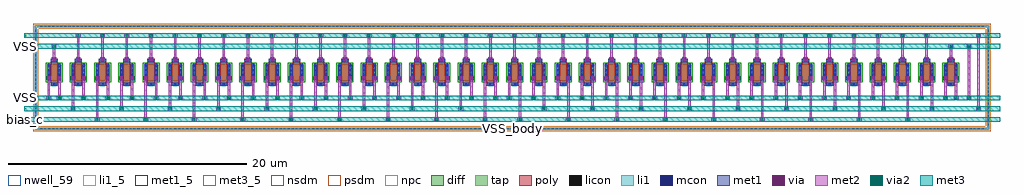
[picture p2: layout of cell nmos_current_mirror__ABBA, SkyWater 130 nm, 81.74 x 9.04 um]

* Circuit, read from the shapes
.subckt nmos_current_mirror__ABBA VSS VSS_body bias_c i_bias
XM1 VSS VSS VSS VSS_body sky130_fd_pr__nfet_01v8 w=1.4 l=0.6 m=2
XM2 VSS i_bias i_bias VSS_body sky130_fd_pr__nfet_01v8 w=1.4 l=0.6 m=18
XM3 VSS i_bias bias_c VSS_body sky130_fd_pr__nfet_01v8 w=1.4 l=0.6 m=18
.ends

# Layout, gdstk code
from math import pi, radians
import gdstk
lib = gdstk.Library(unit=1e-6, precision=1e-09)
def R(c, l, rs):  # rectangles x0, y0, x1, y1
    for r in rs: c.add(gdstk.rectangle(r[:2], r[2:], *l))
def A(c, l, x, y, w, h, nx, ny, dx, dy):  # array of equal rectangles
    R(c, l, [(x+i*dx, y+j*dy, x+i*dx+w, y+j*dy+h) for i in range(nx) for j in range(ny)])
nwell_59 = (64, 59)
diff = (65, 20)
tap = (65, 44)
poly = (66, 20)
licon = (66, 44)
li1_5 = (67, 5)
li1 = (67, 20)
mcon = (67, 44)
met1_5 = (68, 5)
met1 = (68, 20)
via = (68, 44)
met2 = (69, 20)
via2 = (69, 44)
met3_5 = (70, 5)
met3 = (70, 20)
nsdm = (93, 44)
psdm = (94, 20)
npc = (95, 20)

sky130_fd_pr__nfet_01v8_ = lib.new_cell('sky130_fd_pr__nfet_01v8_KCM6UP')
R(sky130_fd_pr__nfet_01v8_, diff, [(-0.59,-0.7,0.59,0.7)])
R(sky130_fd_pr__nfet_01v8_, poly, [(-0.3,-1.14,0.3,1.14)])
A(sky130_fd_pr__nfet_01v8_, licon, -0.53, -0.595, 0.17, 0.17, 1, 4, 0, 0.34)
A(sky130_fd_pr__nfet_01v8_, licon, 0.36, -0.595, 0.17, 0.17, 1, 4, 0, 0.34)
R(sky130_fd_pr__nfet_01v8_, licon, [(-0.085,-1.06,0.085,-0.89), (-0.085,0.89,0.085,1.06)])
R(sky130_fd_pr__nfet_01v8_, li1, [(-0.3,-1.06,0.3,-0.89), (-0.53,-0.72,-0.36,0.72), (0.36,-0.72,0.53,0.72), (-0.3,0.89,0.3,1.06)])
A(sky130_fd_pr__nfet_01v8_, mcon, -0.53, -0.625, 0.17, 0.17, 1, 4, 0, 0.36)
A(sky130_fd_pr__nfet_01v8_, mcon, 0.36, -0.625, 0.17, 0.17, 1, 4, 0, 0.36)
R(sky130_fd_pr__nfet_01v8_, mcon, [(-0.085,-1.06,0.085,-0.89), (-0.085,0.89,0.085,1.06)])
R(sky130_fd_pr__nfet_01v8_, met1, [(-0.28,-1.09,0.28,-0.86), (-0.56,-0.7,-0.33,0.7), (0.33,-0.7,0.56,0.7), (-0.28,0.86,0.28,1.09)])
R(sky130_fd_pr__nfet_01v8_, nsdm, [(-0.715,-0.825,0.715,0.825)])
R(sky130_fd_pr__nfet_01v8_, npc, [(-0.185,-1.16,0.185,-0.79), (-0.185,0.79,0.185,1.16)])
sky130_fd_pr__nfet_01v8_.add(gdstk.Label('D', (-0.445,0), layer=67, texttype=5))
sky130_fd_pr__nfet_01v8_.add(gdstk.Label('S', (0.445,0), layer=67, texttype=5))
sky130_fd_pr__nfet_01v8_.add(gdstk.Label('G', (0,0.975), layer=67, texttype=5))

nfet_01v8_w1p4_l0p6_m18_ = lib.new_cell('nfet_01v8_W1p4_L0p6_m18__nf1_gboth_sdfull_ng')
R(nfet_01v8_w1p4_l0p6_m18_, nwell_59, [(0.05,1.09,0.15,1.19)])
R(nfet_01v8_w1p4_l0p6_m18_, met1_5, [(0.03,1.14,0.26,1.34), (0.92,1.14,1.15,1.34), (0.31,2,0.87,2.23)])
R(nfet_01v8_w1p4_l0p6_m18_, met1, [(0.03,1.14,0.26,1.34), (0.92,1.14,1.15,1.34), (0.31,2,0.87,2.23)])
nfet_01v8_w1p4_l0p6_m18_.add(gdstk.Reference(sky130_fd_pr__nfet_01v8_, (0.59,1.14)))
nfet_01v8_w1p4_l0p6_m18_.add(gdstk.Label('D', (0.145,1.24), layer=68, texttype=5))
nfet_01v8_w1p4_l0p6_m18_.add(gdstk.Label('S', (1.035,1.24), layer=68, texttype=5))
nfet_01v8_w1p4_l0p6_m18_.add(gdstk.Label('G', (0.59,2.115), layer=68, texttype=5))
nfet_01v8_w1p4_l0p6_m18_.add(gdstk.Label('B', (0.1,1.14), layer=64, texttype=59))

nmos_current_mirror__abb = lib.new_cell('nmos_current_mirror__ABBA')
R(nmos_current_mirror__abb, tap, [(-0.885,-3.685,79.025,-3.515), (-0.885,-3.515,-0.715,4.935), (78.855,-3.515,79.025,4.935), (-0.885,4.935,79.025,5.105)])
A(nmos_current_mirror__abb, licon, -0.455, -3.685, 0.17, 0.17, 233, 2, 0.34, 8.62)
A(nmos_current_mirror__abb, licon, -0.885, -3.285, 0.17, 0.17, 1, 24, 0, 0.34)
A(nmos_current_mirror__abb, licon, 78.855, -3.285, 0.17, 0.17, 1, 24, 0, 0.34)
R(nmos_current_mirror__abb, li1_5, [(39.02,-3.65,39.12,-3.55)])
R(nmos_current_mirror__abb, li1, [(-0.885,-3.685,79.025,-3.515), (-0.885,-3.515,-0.715,4.935), (78.855,-3.515,79.025,4.935), (-0.885,4.935,79.025,5.105)])
A(nmos_current_mirror__abb, met1, 0.535, 2.05, 0.36, 0.36, 38, 1, 2.03, 0)
R(nmos_current_mirror__abb, met1, [(0.09,0.46,0.45,0.82), (0.98,0.46,1.34,0.82), (2.12,0.46,2.48,0.82), (3.01,0.46,3.37,0.82), (4.15,0.46,4.51,0.82), (5.04,0.46,5.4,0.82), (6.18,0.46,6.54,0.82), (7.07,0.46,7.43,0.82), (8.21,0.46,8.57,0.82), (9.1,0.46,9.46,0.82), (10.24,0.46,10.6,0.82), (11.13,0.46,11.49,0.82), (12.27,0.46,12.63,0.82), (13.16,0.46,13.52,0.82), (14.3,0.46,14.66,0.82), (15.19,0.46,15.55,0.82), (16.33,0.46,16.69,0.82), (17.22,0.46,17.58,0.82), (18.36,0.46,18.72,0.82), (19.25,0.46,19.61,0.82), (20.39,0.46,20.75,0.82), (21.28,0.46,21.64,0.82), (22.42,0.46,22.78,0.82), (23.31,0.46,23.67,0.82), (24.45,0.46,24.81,0.82), (25.34,0.46,25.7,0.82), (26.48,0.46,26.84,0.82), (27.37,0.46,27.73,0.82), (28.51,0.46,28.87,0.82), (29.4,0.46,29.76,0.82), (30.54,0.46,30.9,0.82), (31.43,0.46,31.79,0.82), (32.57,0.46,32.93,0.82), (33.46,0.46,33.82,0.82), (34.6,0.46,34.96,0.82), (35.49,0.46,35.85,0.82), (36.63,0.46,36.99,0.82), (37.52,0.46,37.88,0.82), (38.66,0.46,39.02,0.82), (39.55,0.46,39.91,0.82), (40.69,0.46,41.05,0.82), (41.58,0.46,41.94,0.82), (42.72,0.46,43.08,0.82), (43.61,0.46,43.97,0.82), (44.75,0.46,45.11,0.82), (45.64,0.46,46,0.82), (46.78,0.46,47.14,0.82), (47.67,0.46,48.03,0.82), (48.81,0.46,49.17,0.82), (49.7,0.46,50.06,0.82), (50.84,0.46,51.2,0.82), (51.73,0.46,52.09,0.82), (52.87,0.46,53.23,0.82), (53.76,0.46,54.12,0.82), (54.9,0.46,55.26,0.82), (55.79,0.46,56.15,0.82), (56.93,0.46,57.29,0.82), (57.82,0.46,58.18,0.82), (58.96,0.46,59.32,0.82), (59.85,0.46,60.21,0.82), (60.99,0.46,61.35,0.82), (61.88,0.46,62.24,0.82), (63.02,0.46,63.38,0.82), (63.91,0.46,64.27,0.82), (65.05,0.46,65.41,0.82), (65.94,0.46,66.3,0.82), (67.08,0.46,67.44,0.82), (67.97,0.46,68.33,0.82), (69.11,0.46,69.47,0.82), (70,0.46,70.36,0.82), (71.14,0.46,71.5,0.82), (72.03,0.46,72.39,0.82), (73.17,0.46,73.53,0.82), (74.06,0.46,74.42,0.82), (75.2,0.46,75.56,0.82), (76.09,0.46,76.45,0.82)])
A(nmos_current_mirror__abb, via, 0.64, 2.155, 0.15, 0.15, 38, 1, 2.03, 0)
R(nmos_current_mirror__abb, via, [(0.195,0.565,0.345,0.715), (1.085,0.565,1.235,0.715), (2.225,0.565,2.375,0.715), (3.115,0.565,3.265,0.715), (4.255,0.565,4.405,0.715), (5.145,0.565,5.295,0.715), (6.285,0.565,6.435,0.715), (7.175,0.565,7.325,0.715), (8.315,0.565,8.465,0.715), (9.205,0.565,9.355,0.715), (10.345,0.565,10.495,0.715), (11.235,0.565,11.385,0.715), (12.375,0.565,12.525,0.715), (13.265,0.565,13.415,0.715), (14.405,0.565,14.555,0.715), (15.295,0.565,15.445,0.715), (16.435,0.565,16.585,0.715), (17.325,0.565,17.475,0.715), (18.465,0.565,18.615,0.715), (19.355,0.565,19.505,0.715), (20.495,0.565,20.645,0.715), (21.385,0.565,21.535,0.715), (22.525,0.565,22.675,0.715), (23.415,0.565,23.565,0.715), (24.555,0.565,24.705,0.715), (25.445,0.565,25.595,0.715), (26.585,0.565,26.735,0.715), (27.475,0.565,27.625,0.715), (28.615,0.565,28.765,0.715), (29.505,0.565,29.655,0.715), (30.645,0.565,30.795,0.715), (31.535,0.565,31.685,0.715), (32.675,0.565,32.825,0.715), (33.565,0.565,33.715,0.715), (34.705,0.565,34.855,0.715), (35.595,0.565,35.745,0.715), (36.735,0.565,36.885,0.715), (37.625,0.565,37.775,0.715), (38.765,0.565,38.915,0.715), (39.655,0.565,39.805,0.715), (40.795,0.565,40.945,0.715), (41.685,0.565,41.835,0.715), (42.825,0.565,42.975,0.715), (43.715,0.565,43.865,0.715), (44.855,0.565,45.005,0.715), (45.745,0.565,45.895,0.715), (46.885,0.565,47.035,0.715), (47.775,0.565,47.925,0.715), (48.915,0.565,49.065,0.715), (49.805,0.565,49.955,0.715), (50.945,0.565,51.095,0.715), (51.835,0.565,51.985,0.715), (52.975,0.565,53.125,0.715), (53.865,0.565,54.015,0.715), (55.005,0.565,55.155,0.715), (55.895,0.565,56.045,0.715), (57.035,0.565,57.185,0.715), (57.925,0.565,58.075,0.715), (59.065,0.565,59.215,0.715), (59.955,0.565,60.105,0.715), (61.095,0.565,61.245,0.715), (61.985,0.565,62.135,0.715), (63.125,0.565,63.275,0.715), (64.015,0.565,64.165,0.715), (65.155,0.565,65.305,0.715), (66.045,0.565,66.195,0.715), (67.185,0.565,67.335,0.715), (68.075,0.565,68.225,0.715), (69.215,0.565,69.365,0.715), (70.105,0.565,70.255,0.715), (71.245,0.565,71.395,0.715), (72.135,0.565,72.285,0.715), (73.275,0.565,73.425,0.715), (74.165,0.565,74.315,0.715), (75.305,0.565,75.455,0.715), (76.195,0.565,76.345,0.715)])
A(nmos_current_mirror__abb, met2, 4.13, -3, 0.4, 0.4, 9, 1, 4.06, 0)
A(nmos_current_mirror__abb, met2, 39.53, -3, 0.4, 0.4, 9, 1, 4.06, 0)
A(nmos_current_mirror__abb, met2, 4.23, -2.6, 0.2, 3.08, 9, 1, 4.06, 0)
A(nmos_current_mirror__abb, met2, 39.63, -2.6, 0.2, 3.08, 9, 1, 4.06, 0)
A(nmos_current_mirror__abb, met2, 2.1, -2.1, 0.4, 0.4, 9, 1, 4.06, 0)
A(nmos_current_mirror__abb, met2, 41.56, -2.1, 0.4, 0.4, 9, 1, 4.06, 0)
A(nmos_current_mirror__abb, met2, 2.2, -1.7, 0.2, 2.18, 9, 1, 4.06, 0)
A(nmos_current_mirror__abb, met2, 41.66, -1.7, 0.2, 2.18, 9, 1, 4.06, 0)
A(nmos_current_mirror__abb, met2, 0.96, -1.2, 0.4, 0.4, 19, 1, 2.03, 0)
A(nmos_current_mirror__abb, met2, 38.64, -1.2, 0.4, 0.4, 19, 1, 2.03, 0)
A(nmos_current_mirror__abb, met2, 1.06, -0.8, 0.2, 1.28, 19, 1, 2.03, 0)
A(nmos_current_mirror__abb, met2, 38.74, -0.8, 0.2, 1.28, 19, 1, 2.03, 0)
A(nmos_current_mirror__abb, met2, 0.585, 2.07, 0.26, 0.32, 38, 1, 2.03, 0)
A(nmos_current_mirror__abb, met2, 2.645, 2.39, 0.2, 1.63, 36, 1, 2.03, 0)
A(nmos_current_mirror__abb, met2, 2.545, 4.02, 0.4, 0.4, 36, 1, 2.03, 0)
R(nmos_current_mirror__abb, met2, [(77.94,-2.1,78.34,-1.7), (78.04,-1.7,78.24,4.02), (0.07,-1.2,0.47,-0.8), (76.07,-1.2,76.47,-0.8), (77.14,-1.2,77.54,-0.8), (0.17,-0.8,0.37,0.48), (76.17,-0.8,76.37,0.48), (77.24,-0.8,77.44,3.12), (0.14,0.48,0.4,0.8), (1.03,0.48,1.29,0.8), (2.17,0.48,2.43,0.8), (3.06,0.48,3.32,0.8), (4.2,0.48,4.46,0.8), (5.09,0.48,5.35,0.8), (6.23,0.48,6.49,0.8), (7.12,0.48,7.38,0.8), (8.26,0.48,8.52,0.8), (9.15,0.48,9.41,0.8), (10.29,0.48,10.55,0.8), (11.18,0.48,11.44,0.8), (12.32,0.48,12.58,0.8), (13.21,0.48,13.47,0.8), (14.35,0.48,14.61,0.8), (15.24,0.48,15.5,0.8), (16.38,0.48,16.64,0.8), (17.27,0.48,17.53,0.8), (18.41,0.48,18.67,0.8), (19.3,0.48,19.56,0.8), (20.44,0.48,20.7,0.8), (21.33,0.48,21.59,0.8), (22.47,0.48,22.73,0.8), (23.36,0.48,23.62,0.8), (24.5,0.48,24.76,0.8), (25.39,0.48,25.65,0.8), (26.53,0.48,26.79,0.8), (27.42,0.48,27.68,0.8), (28.56,0.48,28.82,0.8), (29.45,0.48,29.71,0.8), (30.59,0.48,30.85,0.8), (31.48,0.48,31.74,0.8), (32.62,0.48,32.88,0.8), (33.51,0.48,33.77,0.8), (34.65,0.48,34.91,0.8), (35.54,0.48,35.8,0.8), (36.68,0.48,36.94,0.8), (37.57,0.48,37.83,0.8), (38.71,0.48,38.97,0.8), (39.6,0.48,39.86,0.8), (40.74,0.48,41,0.8), (41.63,0.48,41.89,0.8), (42.77,0.48,43.03,0.8), (43.66,0.48,43.92,0.8), (44.8,0.48,45.06,0.8), (45.69,0.48,45.95,0.8), (46.83,0.48,47.09,0.8), (47.72,0.48,47.98,0.8), (48.86,0.48,49.12,0.8), (49.75,0.48,50.01,0.8), (50.89,0.48,51.15,0.8), (51.78,0.48,52.04,0.8), (52.92,0.48,53.18,0.8), (53.81,0.48,54.07,0.8), (54.95,0.48,55.21,0.8), (55.84,0.48,56.1,0.8), (56.98,0.48,57.24,0.8), (57.87,0.48,58.13,0.8), (59.01,0.48,59.27,0.8), (59.9,0.48,60.16,0.8), (61.04,0.48,61.3,0.8), (61.93,0.48,62.19,0.8), (63.07,0.48,63.33,0.8), (63.96,0.48,64.22,0.8), (65.1,0.48,65.36,0.8), (65.99,0.48,66.25,0.8), (67.13,0.48,67.39,0.8), (68.02,0.48,68.28,0.8), (69.16,0.48,69.42,0.8), (70.05,0.48,70.31,0.8), (71.19,0.48,71.45,0.8), (72.08,0.48,72.34,0.8), (73.22,0.48,73.48,0.8), (74.11,0.48,74.37,0.8), (75.25,0.48,75.51,0.8), (76.14,0.48,76.4,0.8), (0.615,2.39,0.815,3.12), (75.725,2.39,75.925,3.12), (0.515,3.12,0.915,3.52), (75.625,3.12,76.025,3.52), (77.14,3.12,77.54,3.52), (77.94,4.02,78.34,4.42)])
A(nmos_current_mirror__abb, via2, 4.23, -2.9, 0.2, 0.2, 9, 1, 4.06, 0)
A(nmos_current_mirror__abb, via2, 39.63, -2.9, 0.2, 0.2, 9, 1, 4.06, 0)
A(nmos_current_mirror__abb, via2, 2.2, -2, 0.2, 0.2, 9, 1, 4.06, 0)
A(nmos_current_mirror__abb, via2, 41.66, -2, 0.2, 0.2, 9, 1, 4.06, 0)
A(nmos_current_mirror__abb, via2, 1.06, -1.1, 0.2, 0.2, 19, 1, 2.03, 0)
A(nmos_current_mirror__abb, via2, 38.74, -1.1, 0.2, 0.2, 19, 1, 2.03, 0)
A(nmos_current_mirror__abb, via2, 2.645, 4.12, 0.2, 0.2, 36, 1, 2.03, 0)
R(nmos_current_mirror__abb, via2, [(78.04,-2,78.24,-1.8), (0.17,-1.1,0.37,-0.9), (76.17,-1.1,76.37,-0.9), (77.24,-1.1,77.44,-0.9), (0.615,3.22,0.815,3.42), (75.725,3.22,75.925,3.42), (77.24,3.22,77.44,3.42), (78.04,4.12,78.24,4.32)])
A(nmos_current_mirror__abb, met3_5, -1.7, -2.85, 0.1, 0.1, 1, 3, 0, 0.9)
R(nmos_current_mirror__abb, met3_5, [(-1.7,3.27,-1.6,3.37), (-1.7,4.17,-1.6,4.27)])
A(nmos_current_mirror__abb, met3, -1.8, -3, 81.74, 0.4, 1, 3, 0, 0.9)
R(nmos_current_mirror__abb, met3, [(-1.8,3.12,79.94,3.52), (-1.8,4.02,79.94,4.42)])
R(nmos_current_mirror__abb, psdm, [(-1.01,-3.81,79.15,-3.39), (-1.01,-3.39,-0.59,4.81), (78.73,-3.39,79.15,4.81), (-1.01,4.81,79.15,5.23)])
nmos_current_mirror__abb.add(gdstk.Reference(nfet_01v8_w1p4_l0p6_m18_, (76.42,0), rotation=pi, x_reflection=True))
nmos_current_mirror__abb.add(gdstk.Reference(nfet_01v8_w1p4_l0p6_m18_, (74.39,0), rotation=pi, x_reflection=True))
nmos_current_mirror__abb.add(gdstk.Reference(nfet_01v8_w1p4_l0p6_m18_, (72.36,0), rotation=pi, x_reflection=True))
nmos_current_mirror__abb.add(gdstk.Reference(nfet_01v8_w1p4_l0p6_m18_, (70.33,0), rotation=pi, x_reflection=True))
nmos_current_mirror__abb.add(gdstk.Reference(nfet_01v8_w1p4_l0p6_m18_, (68.3,0), rotation=pi, x_reflection=True))
nmos_current_mirror__abb.add(gdstk.Reference(nfet_01v8_w1p4_l0p6_m18_, (66.27,0), rotation=pi, x_reflection=True))
nmos_current_mirror__abb.add(gdstk.Reference(nfet_01v8_w1p4_l0p6_m18_, (64.24,0), rotation=pi, x_reflection=True))
nmos_current_mirror__abb.add(gdstk.Reference(nfet_01v8_w1p4_l0p6_m18_, (62.21,0), rotation=pi, x_reflection=True))
nmos_current_mirror__abb.add(gdstk.Reference(nfet_01v8_w1p4_l0p6_m18_, (60.18,0), rotation=pi, x_reflection=True))
nmos_current_mirror__abb.add(gdstk.Reference(nfet_01v8_w1p4_l0p6_m18_, (58.15,0), rotation=pi, x_reflection=True))
nmos_current_mirror__abb.add(gdstk.Reference(nfet_01v8_w1p4_l0p6_m18_, (56.12,0), rotation=pi, x_reflection=True))
nmos_current_mirror__abb.add(gdstk.Reference(nfet_01v8_w1p4_l0p6_m18_, (54.09,0), rotation=pi, x_reflection=True))
nmos_current_mirror__abb.add(gdstk.Reference(nfet_01v8_w1p4_l0p6_m18_, (52.06,0), rotation=pi, x_reflection=True))
nmos_current_mirror__abb.add(gdstk.Reference(nfet_01v8_w1p4_l0p6_m18_, (50.03,0), rotation=pi, x_reflection=True))
nmos_current_mirror__abb.add(gdstk.Reference(nfet_01v8_w1p4_l0p6_m18_, (48,0), rotation=pi, x_reflection=True))
nmos_current_mirror__abb.add(gdstk.Reference(nfet_01v8_w1p4_l0p6_m18_, (45.97,0), rotation=pi, x_reflection=True))
nmos_current_mirror__abb.add(gdstk.Reference(nfet_01v8_w1p4_l0p6_m18_, (43.94,0), rotation=pi, x_reflection=True))
nmos_current_mirror__abb.add(gdstk.Reference(nfet_01v8_w1p4_l0p6_m18_, (41.91,0), rotation=pi, x_reflection=True))
nmos_current_mirror__abb.add(gdstk.Reference(nfet_01v8_w1p4_l0p6_m18_, (39.88,0), rotation=pi, x_reflection=True))
nmos_current_mirror__abb.add(gdstk.Reference(nfet_01v8_w1p4_l0p6_m18_, (36.67,0)))
nmos_current_mirror__abb.add(gdstk.Reference(nfet_01v8_w1p4_l0p6_m18_, (34.64,0)))
nmos_current_mirror__abb.add(gdstk.Reference(nfet_01v8_w1p4_l0p6_m18_, (32.61,0)))
nmos_current_mirror__abb.add(gdstk.Reference(nfet_01v8_w1p4_l0p6_m18_, (30.58,0)))
nmos_current_mirror__abb.add(gdstk.Reference(nfet_01v8_w1p4_l0p6_m18_, (28.55,0)))
nmos_current_mirror__abb.add(gdstk.Reference(nfet_01v8_w1p4_l0p6_m18_, (26.52,0)))
nmos_current_mirror__abb.add(gdstk.Reference(nfet_01v8_w1p4_l0p6_m18_, (24.49,0)))
nmos_current_mirror__abb.add(gdstk.Reference(nfet_01v8_w1p4_l0p6_m18_, (22.46,0)))
nmos_current_mirror__abb.add(gdstk.Reference(nfet_01v8_w1p4_l0p6_m18_, (20.43,0)))
nmos_current_mirror__abb.add(gdstk.Reference(nfet_01v8_w1p4_l0p6_m18_, (18.4,0)))
nmos_current_mirror__abb.add(gdstk.Reference(nfet_01v8_w1p4_l0p6_m18_, (16.37,0)))
nmos_current_mirror__abb.add(gdstk.Reference(nfet_01v8_w1p4_l0p6_m18_, (14.34,0)))
nmos_current_mirror__abb.add(gdstk.Reference(nfet_01v8_w1p4_l0p6_m18_, (12.31,0)))
nmos_current_mirror__abb.add(gdstk.Reference(nfet_01v8_w1p4_l0p6_m18_, (10.28,0)))
nmos_current_mirror__abb.add(gdstk.Reference(nfet_01v8_w1p4_l0p6_m18_, (8.25,0)))
nmos_current_mirror__abb.add(gdstk.Reference(nfet_01v8_w1p4_l0p6_m18_, (6.22,0)))
nmos_current_mirror__abb.add(gdstk.Reference(nfet_01v8_w1p4_l0p6_m18_, (4.19,0)))
nmos_current_mirror__abb.add(gdstk.Reference(nfet_01v8_w1p4_l0p6_m18_, (2.16,0)))
nmos_current_mirror__abb.add(gdstk.Reference(nfet_01v8_w1p4_l0p6_m18_, (0.13,0)))
nmos_current_mirror__abb.add(gdstk.Label('VSS', (-1.65,3.32), layer=70, texttype=5))
nmos_current_mirror__abb.add(gdstk.Label('i_bias', (-1.65,4.22), layer=70, texttype=5))
nmos_current_mirror__abb.add(gdstk.Label('VSS', (-1.65,-1), layer=70, texttype=5))
nmos_current_mirror__abb.add(gdstk.Label('i_bias', (-1.65,-1.9), layer=70, texttype=5))
nmos_current_mirror__abb.add(gdstk.Label('bias_c', (-1.65,-2.8), layer=70, texttype=5))
nmos_current_mirror__abb.add(gdstk.Label('VSS_body', (39.07,-3.6), layer=67, texttype=5))

lib.write_gds('nmos_current_mirror__ABBA.gds')
